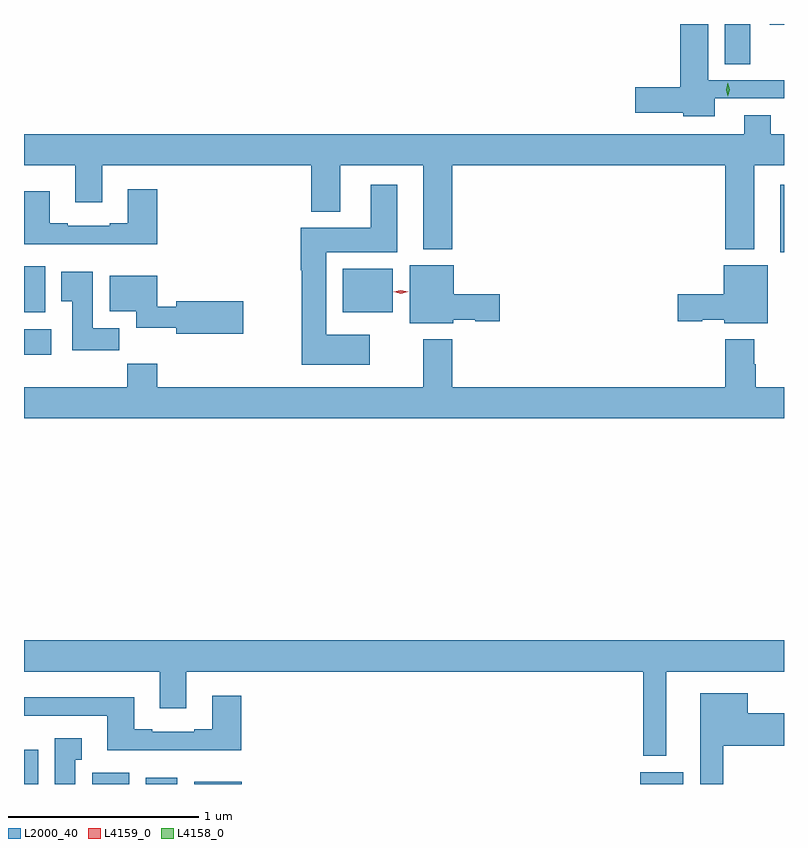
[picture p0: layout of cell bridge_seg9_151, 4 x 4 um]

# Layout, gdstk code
import gdstk
lib = gdstk.Library(unit=1e-6, precision=1e-09)
def R(c, l, rs):  # rectangles x0, y0, x1, y1
    for r in rs: c.add(gdstk.rectangle(r[:2], r[2:], *l))
def P(c, l, *ps):  # polygons
    for p in ps: c.add(gdstk.Polygon(p, *l))
L2000_40 = (2000, 40)
L4158_0 = (4158, 0)
L4159_0 = (4159, 0)

bridge_seg9_151 = lib.new_cell('bridge_seg9_151')
R(bridge_seg9_151, L2000_40, [(555.28,1193.164,555.355,1193.344), (555.638,1193.164,555.835,1193.224), (555.92,1193.164,556.087,1193.197), (556.175,1193.164,556.426,1193.176), (558.524,1193.164,558.751,1193.227), (555.28,1195.424,555.424,1195.558), (555.28,1195.646,555.391,1195.888), (556.958,1195.646,557.221,1195.876), (559.259,1195.964,559.28,1196.317), (558.968,1196.953,559.102,1197.164), (559.206,1197.161,559.28,1197.164)])
P(bridge_seg9_151, L2000_40, [(558.916,1196.772),(559.28,1196.772),(559.28,1196.868),(558.88,1196.868),(558.88,1197.164),(558.734,1197.164),(558.734,1196.831),(558.498,1196.831),(558.498,1196.696),(558.75,1196.696),(558.75,1196.678),(558.916,1196.678)],
  [(557.534,1196.42),(558.971,1196.42),(558.971,1195.979),(559.123,1195.979),(559.123,1196.42),(559.28,1196.42),(559.28,1196.584),(559.21,1196.584),(559.21,1196.683),(559.07,1196.683),(559.07,1196.584),(555.28,1196.584),(555.28,1196.42),(555.551,1196.42),(555.551,1196.226),(555.691,1196.226),(555.691,1196.42),(556.793,1196.42),(556.793,1196.177),(556.945,1196.177),(556.945,1196.42),(557.381,1196.42),(557.381,1195.979),(557.534,1195.979)],
  [(557.101,1195.528),(556.87,1195.528),(556.87,1195.964),(557.245,1195.964),(557.245,1196.317),(557.105,1196.317),(557.105,1196.092),(556.736,1196.092),(556.736,1195.868),(556.741,1195.868),(556.741,1195.37),(557.101,1195.37)],
  [(555.98,1196.293),(555.827,1196.293),(555.827,1196.116),(555.731,1196.116),(555.731,1196.103),(555.511,1196.103),(555.511,1196.116),(555.415,1196.116),(555.415,1196.284),(555.28,1196.284),(555.28,1196.006),(555.98,1196.006)],
  [(559.195,1195.894),(558.962,1195.894),(558.962,1195.742),(558.72,1195.742),(558.72,1195.6),(558.849,1195.6),(558.849,1195.607),(558.966,1195.607),(558.966,1195.589),(559.195,1195.589)],
  [(557.538,1195.607),(557.655,1195.607),(557.655,1195.6),(557.785,1195.6),(557.785,1195.742),(557.542,1195.742),(557.542,1195.894),(557.309,1195.894),(557.309,1195.589),(557.538,1195.589)],
  [(555.782,1195.564),(555.643,1195.564),(555.643,1195.861),(555.476,1195.861),(555.476,1195.705),(555.533,1195.705),(555.533,1195.446),(555.782,1195.446)],
  [(556.435,1195.706),(556.082,1195.706),(556.082,1195.675),(555.982,1195.675),(555.982,1195.84),(555.731,1195.84),(555.731,1195.652),(555.872,1195.652),(555.872,1195.565),(556.082,1195.565),(556.082,1195.535),(556.435,1195.535)],
  [(559.28,1195.252),(559.131,1195.252),(559.131,1195.373),(559.123,1195.373),(559.123,1195.504),(558.971,1195.504),(558.971,1195.252),(557.534,1195.252),(557.534,1195.504),(557.381,1195.504),(557.381,1195.252),(555.98,1195.252),(555.98,1195.376),(555.823,1195.376),(555.823,1195.252),(555.28,1195.252),(555.28,1195.088),(559.28,1195.088)],
  [(558.661,1193.756),(559.28,1193.756),(559.28,1193.92),(555.28,1193.92),(555.28,1193.756),(555.995,1193.756),(555.995,1193.562),(556.135,1193.562),(556.135,1193.756),(558.54,1193.756),(558.54,1193.312),(558.661,1193.312)],
  [(558.961,1193.366),(559.28,1193.366),(559.28,1193.536),(559.09,1193.536),(559.09,1193.641),(558.839,1193.641),(558.839,1193.164),(558.961,1193.164)],
  [(556.424,1193.629),(556.271,1193.629),(556.271,1193.452),(556.175,1193.452),(556.175,1193.439),(555.955,1193.439),(555.955,1193.452),(555.859,1193.452),(555.859,1193.62),(555.28,1193.62),(555.28,1193.523),(555.719,1193.523),(555.719,1193.342),(556.424,1193.342)],
  [(555.55,1193.291),(555.583,1193.291),(555.583,1193.404),(555.443,1193.404),(555.443,1193.164),(555.55,1193.164)])
P(bridge_seg9_151, L4158_0, [(558.985,1196.783),(558.985,1196.783),(558.975,1196.819),(558.985,1196.854),(558.985,1196.854),(558.985,1196.854),(558.995,1196.819),(558.985,1196.783)])
P(bridge_seg9_151, L4159_0, [(557.264,1195.744),(557.226,1195.754),(557.226,1195.754),(557.226,1195.755),(557.264,1195.764),(557.303,1195.754),(557.303,1195.754),(557.303,1195.754)])

lib.write_gds('bridge_seg9_151.gds')
